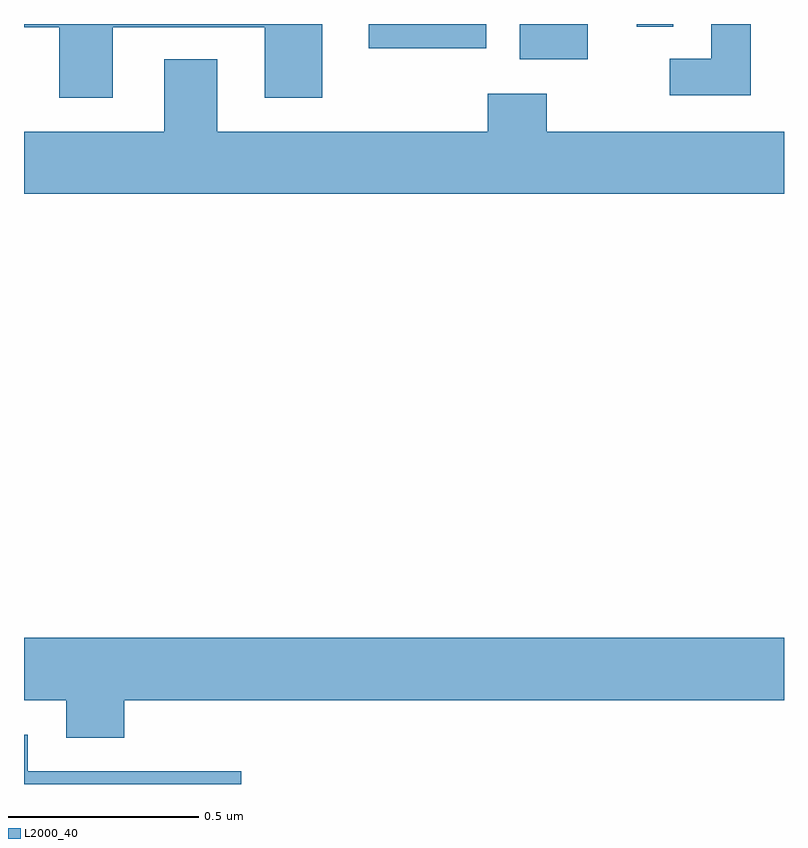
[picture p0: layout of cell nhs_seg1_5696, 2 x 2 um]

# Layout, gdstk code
import gdstk
lib = gdstk.Library(unit=1e-6, precision=1e-09)
def R(c, l, rs):  # rectangles x0, y0, x1, y1
    for r in rs: c.add(gdstk.rectangle(r[:2], r[2:], *l))
def P(c, l, *ps):  # polygons
    for p in ps: c.add(gdstk.Polygon(p, *l))
L2000_40 = (2000, 40)

nhs_seg1_5696 = lib.new_cell('nhs_seg1_5696')
R(nhs_seg1_5696, L2000_40, [(183.305,532.106,183.484,532.199), (182.907,532.135,183.216,532.199), (183.612,532.192,183.708,532.199)])
P(nhs_seg1_5696, L2000_40, [(183.913,532.199),(183.809,532.199),(183.809,532.107),(183.699,532.107),(183.699,532.011),(183.913,532.011)],
  [(182.233,532.191),(182.633,532.191),(182.633,532.005),(182.785,532.005),(182.785,532.199),(182,532.199),(182,532.191),(182.093,532.191),(182.093,532.005),(182.233,532.005)],
  [(184,531.916),(183.375,531.916),(183.375,532.015),(183.22,532.015),(183.22,531.916),(182.509,531.916),(182.509,532.106),(182.369,532.106),(182.369,531.916),(182,531.916),(182,531.752),(184,531.752)],
  [(182.264,530.42),(184,530.42),(184,530.584),(182,530.584),(182,530.42),(182.111,530.42),(182.111,530.321),(182.264,530.321)],
  [(182.572,530.232),(182.01,530.232),(182.01,530.329),(182,530.329),(182,530.199),(182.572,530.199)])

lib.write_gds('nhs_seg1_5696.gds')
